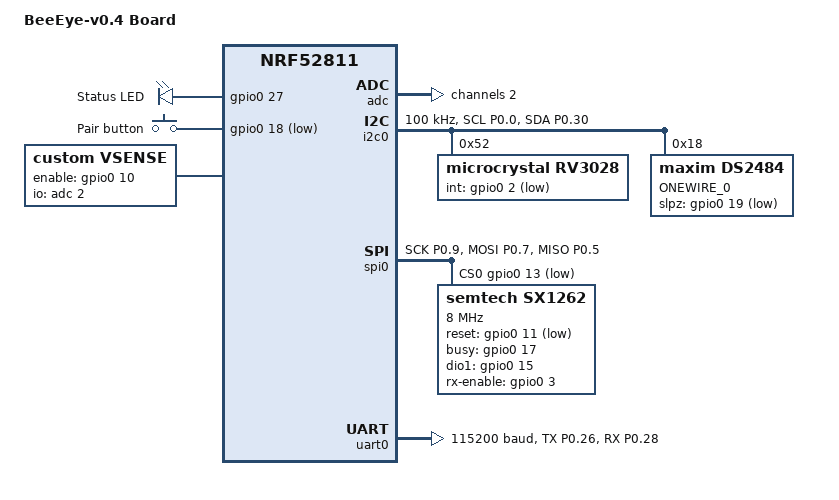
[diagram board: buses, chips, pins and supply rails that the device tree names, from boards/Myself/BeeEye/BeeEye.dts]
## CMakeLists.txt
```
cmake_minimum_required(VERSION 3.20.0)

# Generate compile_commands.json for C/C++ Extension
set(CMAKE_EXPORT_COMPILE_COMMANDS ON)

find_package(Zephyr REQUIRED HINTS $ENV{ZEPHYR_BASE})

project(bee-eye)

target_sources(app PRIVATE 
    src/main.c 
    src/uart_print.c 
    src/vsense.c
    src/rtc.c
    src/onewire.c
    src/lora.c
    src/messages.c
    src/ble_server.c
    src/ble_client.c
)
```

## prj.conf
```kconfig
CONFIG_TICKLESS_KERNEL=y

CONFIG_MINIMAL_LIBC=y
CONFIG_MINIMAL_LIBC_LL_PRINTF=y
CONFIG_MINIMAL_LIBC_TIME=y

CONFIG_PM_DEVICE=y

CONFIG_GPIO=y
CONFIG_GPIO_NRFX=y

# LoRa
CONFIG_SPI=y
CONFIG_LORA=y
CONFIG_LORA_SX126X=y

# BLE
CONFIG_BT=y
CONFIG_BT_LL_SOFTDEVICE=y
CONFIG_BT_OBSERVER=y
CONFIG_BT_EXT_ADV=y

# BLE trim down to fit RAM
CONFIG_BT_BUF_EVT_RX_COUNT=3
CONFIG_BT_BUF_CMD_TX_COUNT=2
CONFIG_BT_BUF_ACL_TX_COUNT=1
# CONFIG_BT_BUF_EVT_RX_SIZE=68

#1W
CONFIG_W1=y
CONFIG_W1_NET=y

# RTC
CONFIG_I2C=y
CONFIG_RTC=y
CONFIG_RTC_ALARM=y

# ADC
CONFIG_ADC=y
CONFIG_NRFX_SAADC=y

# UART
CONFIG_SERIAL=y
CONFIG_UART_ASYNC_API=y

# LOGGGY
CONFIG_CONSOLE=y
CONFIG_UART_CONSOLE=y
# CONFIG_EXCEPTION_DEBUG=y
CONFIG_PRINTK=y
CONFIG_LOG=y
# CONFIG_THREAD_STACK_INFO=y
# CONFIG_INIT_STACKS=y
# CONFIG_STACK_CANARIES=y
# CONFIG_ASSERT=y
# CONFIG_ASSERT_VERBOSE=y
```

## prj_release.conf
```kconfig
CONFIG_TICKLESS_KERNEL=y

CONFIG_MINIMAL_LIBC=y
CONFIG_MINIMAL_LIBC_LL_PRINTF=y
CONFIG_MINIMAL_LIBC_TIME=y

CONFIG_PM_DEVICE=y

CONFIG_GPIO=y
CONFIG_GPIO_NRFX=y

# LoRa
CONFIG_SPI=y
CONFIG_LORA=y
CONFIG_LORA_SX126X=y

# BLE
CONFIG_BT=y
CONFIG_BT_LL_SOFTDEVICE=y
CONFIG_BT_OBSERVER=y
CONFIG_BT_EXT_ADV=y

# BLE trim down to fit RAM
CONFIG_BT_BUF_EVT_RX_COUNT=3
CONFIG_BT_BUF_CMD_TX_COUNT=2
CONFIG_BT_BUF_ACL_TX_COUNT=1
# CONFIG_BT_BUF_EVT_RX_SIZE=68

#1W
CONFIG_W1=y
CONFIG_W1_NET=y

# RTC
CONFIG_I2C=y
CONFIG_RTC=y
CONFIG_RTC_ALARM=y

# ADC
CONFIG_ADC=y
CONFIG_NRFX_SAADC=y

# Disable serial and logging
CONFIG_SERIAL=n
CONFIG_CONSOLE=n
CONFIG_PRINTK=n
CONFIG_LOG=n
```

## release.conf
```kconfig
# Turn off logging (power saving)
CONFIG_SERIAL=n
CONFIG_UART_ASYNC_API=n
CONFIG_CONSOLE=n
CONFIG_UART_CONSOLE=n
CONFIG_LOG=n
```

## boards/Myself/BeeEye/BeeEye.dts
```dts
/dts-v1/;
#include <nordic/nrf52811_qfaa.dtsi>
#include "BeeEye-pinctrl.dtsi"

/ {
	model = "BeeEye-v0.4 Board";
	compatible = "Myself,BeeEye";

	chosen {
		zephyr,console = &uart0;
		zephyr,sram = &sram0;
		zephyr,flash = &flash0;
		zephyr,code-partition = &slot0_partition;
	};

	leds {
		compatible = "gpio-leds";

		status_led: led_0 {
			gpios = <&gpio0 27 GPIO_ACTIVE_HIGH>;
			label = "Status LED";
		};
	};

	buttons {
		compatible = "gpio-keys";

		pair_button: button_0 {
			gpios = <&gpio0 18 (GPIO_ACTIVE_LOW)>;
			label = "Pair button";
			zephyr,code = <INPUT_KEY_0>;
		};
	};

    vsense: vsense {
        compatible = "custom,vsense";
        enable-gpios = <&gpio0 10 GPIO_ACTIVE_HIGH>;
        io-channels = <&adc 2>; /* example channel index */
        label = "VSENSE";
    };
};

&uicr {
    // configures P0.21 as reset
	gpio-as-nreset;
};

&adc {
    status = "okay";
	#address-cells = <1>;
    #size-cells = <0>;

    channel@2 {
        reg = <2>;                               
        zephyr,gain = "ADC_GAIN_1_6";                
        zephyr,reference = "ADC_REF_INTERNAL";         
        zephyr,acquisition-time = <ADC_ACQ_TIME_DEFAULT>;
        zephyr,input-positive = <NRF_SAADC_AIN2>;
        zephyr,resolution = <14>;              
    };
};

&clock {
	status = "okay";
	lfclk {
		source = "LFRC";
		cal-enabled = <1>;
	};
};

&reg {
	regulator-initial-mode = <NRF5X_REG_MODE_DCDC>;
};

&gpiote {
	status = "okay";
};


&gpio0 {
    status = "okay";
};

&pinctrl {
    /* I2C0 */
    i2c0_default: i2c0_default {
        group1 {
            psels = <NRF_PSEL(TWIM_SCL, 0, 0)>,
                    <NRF_PSEL(TWIM_SDA, 0, 30)>;
        };
    };

    i2c0_sleep: i2c0_sleep {
        group1 {
            psels = <NRF_PSEL(TWIM_SCL, 0, 0)>,
                    <NRF_PSEL(TWIM_SDA, 0, 30)>;
            low-power-enable;
        };
    };

    /* SPI0 */
    spi0_default: spi0_default {
        group1 {
            psels = <NRF_PSEL(SPIM_SCK, 0, 9)>,
                    <NRF_PSEL(SPIM_MOSI, 0, 7)>,
                    <NRF_PSEL(SPIM_MISO, 0, 5)>;
        };
    };

    spi0_sleep: spi0_sleep {
        group1 {
            psels = <NRF_PSEL(SPIM_SCK, 0, 9)>,
                    <NRF_PSEL(SPIM_MOSI, 0, 7)>,
                    <NRF_PSEL(SPIM_MISO, 0, 5)>;
            low-power-enable;
        };
    };

    /* UART0 */
    uart0_default: uart0_default {
        group1 {
            psels = <NRF_PSEL(UART_TX, 0, 26)>,
                    <NRF_PSEL(UART_RX, 0, 28)>;
        };
    };

    uart0_sleep: uart0_sleep {
        group1 {
            psels = <NRF_PSEL(UART_TX, 0, 26)>,
                    <NRF_PSEL(UART_RX, 0, 28)>;
            low-power-enable;
        };
    };
};

&i2c0 {
    compatible = "nordic,nrf-twim";
    pinctrl-0 = <&i2c0_default>;
    pinctrl-1 = <&i2c0_sleep>;
    pinctrl-names = "default", "sleep";
    status = "okay";
	clock-frequency = <I2C_BITRATE_STANDARD>;

	/* RV-3028-C7 real-time clock */
    rv3028: rv3028@52 {
		status = "okay";
        compatible = "microcrystal,rv3028";
        reg = <0x52>;
        int-gpios = <&gpio0 2 (GPIO_PULL_UP | GPIO_ACTIVE_LOW)>;
        label = "RV3028";
		backup-switch-mode = "level";
		trickle-resistor-ohms = <15000>;
		// zephyr,deferred-init;
    };

    /* DS2484 I2C -> 1-Wire master */
    ow0: w1@18 {
        status = "okay";
        compatible = "maxim,ds2484";
        reg = <0x18>;
        slpz-gpios = <&gpio0 19 (GPIO_ACTIVE_LOW)>; 
        label = "ONEWIRE_0";

        // enable if you want DS2484 active pull-up 
        // active-pullup;
    };
};

&spi0 {
    compatible = "nordic,nrf-spim";
    pinctrl-0 = <&spi0_default>;
    pinctrl-1 = <&spi0_sleep>;
    pinctrl-names = "default", "sleep";
    cs-gpios = <&gpio0 13 GPIO_ACTIVE_LOW>;
    status = "okay";
    sx1262: sx1262@0 {
        compatible = "semtech,sx1262";
        reg = <0>;
        status = "okay";
        spi-max-frequency = <8000000>;

        reset-gpios = <&gpio0 11 GPIO_ACTIVE_LOW>;
        busy-gpios  = <&gpio0 17 GPIO_ACTIVE_HIGH>;
        dio1-gpios  = <&gpio0 15 GPIO_ACTIVE_HIGH>;
        rx-enable-gpios = <&gpio0 3 GPIO_ACTIVE_HIGH>;
        dio2-tx-enable;
        /*
            Acceptable TXCO voltage constants:
            #define SX126X_DIO3_TCXO_1V6	0x00
            #define SX126X_DIO3_TCXO_1V7	0x01
            #define SX126X_DIO3_TCXO_1V8	0x02
            #define SX126X_DIO3_TCXO_2V2	0x03
            #define SX126X_DIO3_TCXO_2V4	0x04
            #define SX126X_DIO3_TCXO_2V7	0x05
            #define SX126X_DIO3_TCXO_3V0	0x06
            #define SX126X_DIO3_TCXO_3V3	0x07
         */
        dio3-tcxo-voltage = <2>; 
        tcxo-power-startup-delay-ms = <500>;
        label = "SX1262";
    };
};

&uart0 {
    compatible = "nordic,nrf-uarte";
    pinctrl-0 = <&uart0_default>;
    pinctrl-1 = <&uart0_sleep>;
    pinctrl-names = "default", "sleep";
    status = "okay";
	current-speed = <115200>;
};

&flash0 {
	partitions {
		compatible = "fixed-partitions";
		#address-cells = <1>;
		#size-cells = <1>;

		boot_partition: partition@0 {
			label = "mcuboot";
			reg = <0x00000000 DT_SIZE_K(48)>;
		};

		slot0_partition: partition@c000 {
			label = "image-0";
			reg = <0x0000c000 DT_SIZE_K(56)>;
		};

		slot1_partition: partition@1a000 {
			label = "image-1";
			reg = <0x0001a000 DT_SIZE_K(56)>;
		};

		storage_partition: partition@28000 {
			label = "storage";
			reg = <0x00028000 DT_SIZE_K(32)>;
		};
	};
};
```

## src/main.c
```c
#include "uart_print.h"
#include "vsense.h"
#include "rtc.h"
#include "onewire.h"
#include "lora.h"
#include "messages.h"
#include "ble_client.h"

#include <stdio.h>
#include <assert.h>
#include <zephyr/kernel.h>
#include <zephyr/drivers/gpio.h>
#include <zephyr/logging/log.h>
#include <zephyr/sys/atomic.h>
#include <hal/nrf_gpio.h>
#include <nrfx.h>

LOG_MODULE_REGISTER(app_main, LOG_LEVEL_DBG);

#define LED0_NODE DT_NODELABEL(status_led)
static const struct gpio_dt_spec led = GPIO_DT_SPEC_GET(LED0_NODE, gpios);
static const struct gpio_dt_spec pair_button = GPIO_DT_SPEC_GET(DT_NODELABEL(pair_button), gpios);

static atomic_t pairing_mode = ATOMIC_INIT(1);
static k_tid_t main_thread_tid = NULL;
static struct gpio_callback pair_button_cb;

void fillMeasureFromSensor(struct Measure* measure, struct Sensor* sensor);
void fillMeasureFromSensorBat(struct Measure* measure, struct Sensor* sensor);
void transmitSensorData(uint64_t cutoff);
static uint8_t battery_addr_suffix[6];
static void battery_addr_init(void);
static void pair_button_isr(const struct device *dev, struct gpio_callback *cb, uint32_t pins);

static int post(void);
static void event_loop(void);

int main(void)
{
	main_thread_tid = k_current_get();

	int ret = 0;
	ret = post();
	if(ret) {
		// Multiple fast blinks = POST failed
		for (int i=0;i<5;++i) {
			gpio_pin_set_dt(&led, 1);
			k_msleep(100);
			gpio_pin_set_dt(&led, 0);
			k_msleep(100);
		}
		return 0;
	}

	// Single blink = OK
	gpio_pin_set_dt(&led, 1);
	k_msleep(500);
	gpio_pin_set_dt(&led, 0);

	// Send banner
	ret=lora_transmit_text("BeeEye v0.4-nrf");
	if(ret) {
		LOG_ERR("LoRa TX failed: %d", ret);
	}

	event_loop();
	return 0;
}

static int post(void) {
	int ret = 0;
	battery_addr_init();


	if (!device_is_ready(pair_button.port)) {
        LOG_ERR("PAIR BUTTON is not ready");
        return -ENODEV;
    }

	ret = gpio_pin_configure_dt(&pair_button, GPIO_INPUT);
	if (ret) {
        LOG_ERR("Couldn't configure PAIR BUTTON");
		return ret;
	}

	ret = gpio_pin_interrupt_configure_dt(&pair_button, GPIO_INT_EDGE_TO_ACTIVE);
	if (ret) {
        LOG_ERR("Couldn't configure PAIR BUTTON interrupt");
		return ret;
	}

	gpio_init_callback(&pair_button_cb, pair_button_isr, BIT(pair_button.pin));
	ret = gpio_add_callback(pair_button.port, &pair_button_cb);
	if (ret) {
        LOG_ERR("Couldn't configure PAIR BUTTON interrupt callback");
		return ret;
	}

	if (!gpio_is_ready_dt(&led)) {
		LOG_ERR("GPIO is not ready");
		return -ENODEV;
	}

	ret = gpio_pin_configure_dt(&led, GPIO_OUTPUT_INACTIVE);
	if (ret < 0) {
		LOG_ERR("Failed to confugure LED");
		return ret;
	} 

	nrf_gpio_cfg(
		led.pin,                    // pin number
		NRF_GPIO_PIN_DIR_OUTPUT,
		NRF_GPIO_PIN_INPUT_DISCONNECT,
		NRF_GPIO_PIN_NOPULL,
		NRF_GPIO_PIN_S0H1,     // <— drive mode
		NRF_GPIO_PIN_NOSENSE
	);

	ret = intinitialize_rtc();
	if(ret) {
		LOG_ERR("RTC init failed: %d", ret);
		return ret;
	} else {
		LOG_INF("RTC OK");
	}

	// Vsense
	uint16_t batteryMilliVolt = 0;
	ret = vsense_measure_mv(&batteryMilliVolt);
	if(ret) {
		LOG_ERR("Battery Voltage measurement failed");
		return ret;
	}
	LOG_INF("Battery Voltage = %dmV", batteryMilliVolt);

	// Start BLE
	ret = ble_client_start(60, 30);
	if(ret) {
		LOG_ERR("BLE client init failed: %d", ret);
		return ret;
	} else {
		LOG_INF("BLE OK");
	}

	k_msleep(100);

	ret = init_lora();
	if(ret){
		LOG_ERR("LoRa init failed: %d", ret);
		return ret;
	} else {
		LOG_INF("LoRa OK");
	}

	return 0;
}

static void event_loop(void) {
	int ret = 0;
	uint64_t start = k_uptime_get();
	uint64_t t_start_transmit = start;
	uint64_t t_stop_hifreq = 0;
	uint64_t t_start_hifreq = 0;

	while (1) {
		uint64_t now = k_uptime_get();

		if (atomic_cas(&pairing_mode, 1, 0)) {
			LOG_INF("Starting pairing mode (hi-freq)");
			t_stop_hifreq = now + 180000;
			t_start_hifreq = now - 1;
		}

		if (t_stop_hifreq != 0 && t_stop_hifreq <= now) {
			gpio_pin_set_dt(&led, 0);
			t_stop_hifreq = 0;
			LOG_INF("Stopping ble scan, sensors found so far = %d", ble_get_sensor_count());
			ble_client_stop();

			// LOG_INF("Switching to low-freq ble scan, sensors found so far = %d", ble_get_sensor_count());
			// ble_client_start(2000, 30); // low freq

			t_start_hifreq = ble_client_get_next_sensor_window();
			if(t_start_hifreq == 0) {
				LOG_WRN("No BLE devices detected, scheduling next hi-freq scan in 15 minutes");
				t_start_hifreq = now + 900000;
			} else {
				LOG_INF("Next hi-freq in %d seconds", (int)((t_start_hifreq - now) / 1000));
			}
		}

		if (t_start_hifreq != 0 && t_start_hifreq <= now) {
			t_start_hifreq = 0;
			LOG_INF("Switching to high-freq ble scan");
			ble_client_start(60, 30); // high freq
			if(t_stop_hifreq <= now) {
				t_stop_hifreq = now + 300; 
			}
		}

		if (t_start_transmit != 0 && t_start_transmit <= now) {
			transmitSensorData(now - 300000);
			t_start_transmit = now + 300000; // schedule LoRa transmit every 5 minutes
		}

		uint64_t next = t_start_transmit;
		if (t_stop_hifreq != 0 && t_stop_hifreq < next) next = t_stop_hifreq;
		if (t_start_hifreq != 0 && t_start_hifreq < next) next = t_start_hifreq;

		now = k_uptime_get();
		if(t_stop_hifreq != 0 && t_stop_hifreq - 1000 > now) {
			gpio_pin_toggle_dt(&led);
			k_msleep(MIN(next - now, 500));
		} else {
			k_msleep(next - now);
		}
	}
}

static void pair_button_isr(const struct device *dev, struct gpio_callback *cb, uint32_t pins)
{
	ARG_UNUSED(dev);
	ARG_UNUSED(cb);
	ARG_UNUSED(pins);
	if(atomic_cas(&pairing_mode, 0, 1) && main_thread_tid) {
		k_wakeup(main_thread_tid); 
	}
}

#define MAX_MEASURES 8
struct Measure measures[MAX_MEASURES];
static uint8_t measure_count = 0;
static uint8_t total_measure_count = 0;
static void flush_measures(void)
{
	if (measure_count == 0) return;
	__ASSERT(measure_count <= MAX_MEASURES, "measure_count overflow");

	LOG_INF("Sending %d measures", measure_count);
	lora_transmit_measures(measures, measure_count);
	measure_count = 0;
}

static struct Measure *alloc_measure(void)
{
	if (measure_count == MAX_MEASURES) {
		flush_measures();
	}

	++total_measure_count;
	return &measures[measure_count++];
}

void transmitSensorData(uint64_t cutoff)
{
	int ret;

	measure_count = 0;
	total_measure_count = 0;

	// Iterate over BLE sensors
	for (int i = 0; i < ble_get_sensor_count(); ++i) {
		struct Sensor *sensor = ble_get_sensor(i);

		if (sensor->lastReceive < cutoff) continue;

		fillMeasureFromSensor(alloc_measure(), sensor);

		if (!sensor->rawBattery) continue;
		
		fillMeasureFromSensorBat(alloc_measure(), sensor);
	}

	// Iterate over 1Wire sensors
	enum_w1();
	for (int i = 0; i < get_w1_device_count(); ++i) {
		struct Measure *measure = alloc_measure();

		measure->type = BEE_EYE_MEASURE_TYPE_TEMPERATURE;
		measure->data.th.tempC = read_temp(i);
		measure->data.th.hum = 0;

		get_w1_address(measure->sensorAddress, i);
	}

	// Send station's battery voltage
	uint16_t mv = 0;
	ret = vsense_measure_mv(&mv);
	if (ret) {
		LOG_ERR("Couldn't get battery voltage %d", ret);
	} else {
		struct Measure *measure = alloc_measure();

		measure->type = BEE_EYE_MEASURE_TYPE_BATTERY;
		measure->sensorAddress[0] = 'B';
		measure->sensorAddress[1] = 'T';

		memcpy(&measure->sensorAddress[2], battery_addr_suffix, 6);

		measure->data.bat.mV = mv;
	}

	// Flush the reminder
	flush_measures();

	LOG_INF("Sent total of %d measures", total_measure_count);
}

void fillMeasureFromSensor(struct Measure* measure, struct Sensor* sensor) {
	measure->sensorAddress[0] = 'B';
	measure->sensorAddress[1] = 'T';
	memcpy(measure->sensorAddress + 2, sensor->address, 6);
	if(sensor->type == SENSOR_TYPE_TEMPHUM) {
		measure->type = BEE_EYE_MEASURE_TYPE_TEMPHUM;
		measure->data.th.tempC = sensor->data.th.rawTemperature / 256.0f;
		measure->data.th.hum = sensor->data.th.rawHumidity / 256.0f;
	} else if(sensor->type == SENSOR_TYPE_WEIGHT) {
		measure->type = BEE_EYE_MEASURE_TYPE_WEIGHT;
		measure->data.w.weight = sensor->data.w.rawWeight / 256.0f;
	}
}

void fillMeasureFromSensorBat(struct Measure* measure, struct Sensor* sensor) {
	measure->sensorAddress[0] = 'B';
	measure->sensorAddress[1] = 'T';
	memcpy(measure->sensorAddress + 2, sensor->address, 6);
	measure->type = BEE_EYE_MEASURE_TYPE_BATTERY;
	measure->data.bat.mV = sensor->rawBattery / 256.0f;
}

static void battery_addr_init(void)
{
    /* 64-bit ID from FICR */
    uint64_t dev_id =
        ((uint64_t)NRF_FICR->DEVICEID[1] << 32) |
        ((uint64_t)NRF_FICR->DEVICEID[0]);

    /* Take 6 LSB bytes of the ID */
    for (int i = 0; i < 6; i++) {
        battery_addr_suffix[i] = (uint8_t)(dev_id >> (8 * i));
    }
}
```

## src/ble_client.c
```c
#include "ble_client.h"
#include "uart_print.h"
#include "protocol.h"

#include <zephyr/kernel.h>
#include <zephyr/logging/log.h>
#include <zephyr/bluetooth/bluetooth.h>
#include <zephyr/bluetooth/hci.h>
#include <zephyr/sys/byteorder.h>
#include <zephyr/sys/crc.h>

#if !defined(CONFIG_BT_EXT_ADV)
#error "enable CONFIG_BT_EXT_ADV"
#endif

LOG_MODULE_REGISTER(app_ble, LOG_LEVEL_DBG);

#define NAME_LEN 30
static bool scanning_active = false;
static volatile uint16_t ble_measure_count = 0;

#define MAX_SENSORS 8
static struct Sensor sensors[MAX_SENSORS];
static volatile uint8_t num_sensors = 0;


struct __attribute__((packed)) SensorDataObsolete {
        uint16_t magic;
        int16_t temp;
        int16_t hum;
		uint32_t nextAnnounce;
};

struct AnnounceData {
	char name[NAME_LEN];
	struct ManufacturerData sensorData;
};

static bool data_cb(struct bt_data *data, void *user_data)
{
	if(!user_data) return false;

	struct AnnounceData *announceData = user_data;
	uint8_t len;

	// note: we expect name being parsed before manufacturer data
	switch (data->type) {
	case BT_DATA_NAME_SHORTENED:
	case BT_DATA_NAME_COMPLETE:
		len = MIN(data->data_len, NAME_LEN - 1);
		(void)memcpy(announceData->name, data->data, len);
		announceData->name[len] = '\0';
		return true;
	case BT_DATA_MANUFACTURER_DATA:
		memset(&announceData->sensorData, 0, sizeof(announceData->sensorData));
		if (data->data_len == sizeof(struct SensorDataObsolete)) {
			const struct SensorDataObsolete *p = (const struct SensorDataObsolete*)data->data;
			announceData->sensorData.nextTransmission = p->nextAnnounce;
			announceData->sensorData.flags = BEE_EYE_BATTERY_3V3 | BEE_EYE_METRIC_TEMPHUM | BEE_EYE_TIMER_1000HZ;
			announceData->sensorData.magic = p->magic == 0xBEEE ? BEE_EYE_MAGIC : 0;
			announceData->sensorData.data.th.temp = p->temp;
			announceData->sensorData.data.th.hum = p->hum;
			announceData->sensorData.crc = crc8(&announceData->sensorData, sizeof(announceData->sensorData) - sizeof(announceData->sensorData.crc), 0x07, 0, false);
		} else if (data->data_len == sizeof(struct ManufacturerData)) {
			(void)memcpy(&announceData->sensorData, data->data, data->data_len);
		}
		return false;

	default:
		return true;
	}

	// shouldn't actually reach here
	return true;
}

bool addr_is_zero(const uint8_t a[6])
{
    return (a[0] | a[1] | a[2] | a[3] | a[4] | a[5]) == 0;
}

static void update_sensor(struct Sensor *sensor, const struct ManufacturerData *data) {
	sensor->lastReceive = k_uptime_get();
	const uint8_t type = data->flags & BEE_EYE_METRIC_TYPE_MASK;
	const uint8_t freq_unit = data->flags & BEE_EYE_TIMER_RESOLUTION_MASK;
	
	sensor->type = type;
	_Static_assert(sizeof(sensor->data) == sizeof(data->data));
	memcpy(&sensor->data, &data->data, sizeof(sensor->data));

	uint32_t next_trans = data->nextTransmission;

	// convert to ms
	switch (freq_unit) {
	case BEE_EYE_TIMER_64HZ:
		next_trans = ((uint64_t)next_trans) * 15625 / 1000;
		break;
	case BEE_EYE_TIMER_1HZ:
		next_trans = next_trans * 1000;
		break;
	case BEE_EYE_TIMER_100HZ:
		next_trans = next_trans * 10;
		break;
	case BEE_EYE_TIMER_1000HZ:
	default:
		break;
	}

	sensor->nextAnnounce = sensor->lastReceive + next_trans;
	sensor->rawBattery = data->batteryMilliVolt;

	LOG_INF("SNS next = %u (%ums)", data->nextTransmission, next_trans);
}

static void scan_recv(const struct bt_le_scan_recv_info *info, struct net_buf_simple *buf)
{
	static struct AnnounceData announceData;
	memset(&announceData, 0, sizeof(struct AnnounceData));
	bt_data_parse(buf, data_cb, &announceData);

    if (strncmp(announceData.name, "BeeEye_", 7) != 0) return;
	uint16_t magic = announceData.sensorData.magic;
	if (magic != BEE_EYE_MAGIC) return;
	LOG_DBG("SID=%u adv_type=0x%X props=0x%X addr_type=%d, addr=%02X%02X%02X_%02X%02X%02X",
       info->sid, info->adv_type, info->adv_props, info->addr->type
				, info->addr->a.val[5]
				, info->addr->a.val[4]
				, info->addr->a.val[3]
				, info->addr->a.val[2]
				, info->addr->a.val[1]
				, info->addr->a.val[0]);

	++ble_measure_count;

	LOG_DBG("Sensor %s, flags %02x, next %d", 
		announceData.name, 
		announceData.sensorData.flags, 		
		sys_le32_to_cpu(announceData.sensorData.nextTransmission));

	for(int i=0;i<num_sensors;++i) {
		if(memcmp(sensors[i].address, info->addr->a.val, 6) == 0) {			
			update_sensor(sensors + i, &announceData.sensorData);
			LOG_DBG("Updated sensor %02X%02X", info->addr->a.val[1], info->addr->a.val[0]);
			return;
		}
	}

	if (num_sensors >= MAX_SENSORS) return;

	LOG_DBG("Registered sensor %02X%02X", info->addr->a.val[1], info->addr->a.val[0]);
	memcpy(sensors[num_sensors].address, info->addr->a.val, 6);
	update_sensor(sensors + num_sensors, &announceData.sensorData);
	++num_sensors;
}

static struct bt_le_scan_cb scan_callbacks = {
	.recv = scan_recv,
};

int ble_client_stop(void)
{
    if (!scanning_active) {
        return -EINVAL;
    }

	bt_le_scan_cb_unregister(&scan_callbacks);

    int ret = bt_le_scan_stop();
	if(ret) {
		LOG_ERR("Stop scanning failed: %d", ret);
		return ret;
	}

    scanning_active = false;
    return 0;
}


int ble_client_start(int interval, int window)
{
	LOG_INF("(Re)starting scan with .interval=0x%x, .window=0x%x",(interval << 3) / 5, (window << 3) / 5);
    int err;

    if (!bt_is_ready()) {
		memset(sensors, 0, sizeof(sensors));
        err = bt_enable(NULL);
        if (err) {
            LOG_ERR("BLE init failed: %d", err);
            return err;
        }
    }

    if (scanning_active) {
		LOG_DBG("Scanning already active, stopping");
        err = ble_client_stop();
		if(err) {
			return err;
		}
    }

	bt_le_scan_cb_register(&scan_callbacks);

    struct bt_le_scan_param scan_param = {
		.type       = BT_LE_SCAN_TYPE_PASSIVE,
		.options    = BT_LE_SCAN_OPT_FILTER_DUPLICATE,
		.interval   = (interval << 3) / 5,  // pause between scans
		.window     = (window << 3) / 5  // actively listening
	};

    err = bt_le_scan_start(&scan_param, NULL);
	if (err) {
		LOG_ERR("Start scanning failed: %d", err);
		return err;
	}

    scanning_active = true;
	LOG_DBG("Scanning started");
    return 0;
}


uint16_t ble_client_get_measure_count() {
	uint16_t measure_count = ble_measure_count;
	ble_measure_count = 0;
	return measure_count;
}

uint64_t ble_client_get_next_sensor_window(void) {
		uint64_t now = k_uptime_get();
		uint64_t result = 0;

        for (int i = 0; i < num_sensors; i++) {
			LOG_DBG("Record #%d addr=%02X%02X%02X%02X%02X%02X", i
				, sensors[i].address[5]
				, sensors[i].address[4]
				, sensors[i].address[3]
				, sensors[i].address[2]
				, sensors[i].address[1]
				, sensors[i].address[0]);
			uint64_t nextAnnounce = sensors[i].nextAnnounce;
            if (nextAnnounce == 0)
                continue;

            uint64_t next = nextAnnounce;
			while(next < now) {
				next += 120000;
			}

            if(result == 0 || result > next)
				result = next;
        }
		
		LOG_DBG("sensors = %d, next sensor window = %llu (%02d:%02d:%02d.%03d)", 
			num_sensors, 
			result,
			(int)(result / 3600000),
			(int)(result % 3600000) / 60000,
			(int)(result % 60000) / 1000,
			(int)(result % 1000)			
		);
		return result;
}

uint8_t ble_get_sensor_count(void) {
		return num_sensors;
}

struct Sensor* ble_get_sensor(uint8_t index) {
	if (index >= MAX_SENSORS) return NULL;
	return sensors + index;
}
```

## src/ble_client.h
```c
#pragma once

#include <stdint.h>

#define SENSOR_TYPE_TEMPHUM 0
#define SENSOR_TYPE_WEIGHT 1
#define SENSOR_TYPE_UNKNOWN 0xFF

struct Sensor {
	uint64_t	lastReceive;
	uint8_t		address[6];
	uint8_t		type;
	union {
		struct {
			int16_t rawTemperature;
			int16_t rawHumidity;
		} th;

		struct {
			int32_t rawWeight;
		} w;
	} data;	
	uint16_t    rawBattery;
	uint64_t	nextAnnounce;
};

int ble_client_start(int interval, int window);
int ble_client_stop(void);
uint64_t ble_client_get_next_sensor_window(void);
uint16_t ble_client_get_measure_count();
uint8_t ble_get_sensor_count(void);
struct Sensor* ble_get_sensor(uint8_t index);
```

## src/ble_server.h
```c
#pragma once

/// @brief Starts BLE Config Server
void start_ble_server(void);

/// @brief Stops BLE Config Server
void stop_ble_server(void);
```

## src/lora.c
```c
#include "lora.h"
#include "uart_print.h"

#include <zephyr/logging/log.h>
#include <zephyr/device.h>
#include <zephyr/devicetree.h>
#include <zephyr/drivers/lora.h>
#include <errno.h>

LOG_MODULE_REGISTER(app_lora, LOG_LEVEL_DBG);

const struct device *lora_dev = DEVICE_DT_GET(DT_NODELABEL(sx1262));

int init_lora(void) {
    struct lora_modem_config config = {
        .frequency = 868100000,  
        .bandwidth = BW_125_KHZ, 
        .datarate = SF_9,       
        .preamble_len = 8,
        .coding_rate = CR_4_7,
        .tx_power = 10,         
        .iq_inverted = false,
        .public_network = false,
        .tx = true
    };

    if(!device_is_ready(lora_dev)) {
        LOG_ERR("SX1262 not ready");
        return -ENODEV;
    }

    int ret = lora_config(lora_dev, &config);
    if (ret < 0) {
        LOG_ERR("LoRa config failed: %d", ret);
        return ret;
    }

    return 0;
}

#define LORA_TXSIZE 255
static uint8_t tx_buf[LORA_TXSIZE];

int lora_transmit_text(const char *text)
{
	if (!text)
    {
		return -EINVAL;
    }

	const size_t text_len = strlen(text);
	const size_t payload  = sizeof(struct MessageHeader) + text_len;

	if (text_len == 0) {
		return -EINVAL;
    }

	if (payload > sizeof(tx_buf)) {
		return -EMSGSIZE;
    }

	fillHeader(tx_buf, BEE_EYE_MESSAGE_TYPE_TEXT);
	memcpy(tx_buf + sizeof(struct MessageHeader), text, text_len);

    LOG_DBG("Sending %d bytes over LoRa (text)", payload);
	return lora_send(lora_dev, tx_buf, payload); /* 0 or -ERRNO */
}

int lora_transmit_measures(const struct Measure *measure, uint8_t count)
{
	if (!measure)
		return -EINVAL;

	size_t payload = sizeof(struct MessageHeader) + sizeof(struct Measure) * count;

    if (payload > sizeof(tx_buf)) {
        // TODO: implement message splitting for large number of sensors
		return -EMSGSIZE;
    }

	fillHeader(tx_buf, BEE_EYE_MESSAGE_TYPE_MEASURES);
	memcpy(tx_buf + sizeof(struct MessageHeader), measure, sizeof(struct Measure) * count);

    LOG_DBG("Sending %d bytes over LoRa (%d measures)", payload, count);
	return lora_send(lora_dev, tx_buf, payload);
}
```

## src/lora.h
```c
#pragma once

#include "messages.h"

int init_lora(void);
int lora_transmit_text(const char *text);
int lora_transmit_measures(const struct Measure *measure, uint8_t count);
```

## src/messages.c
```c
#include "messages.h"

#include <stdint.h>
#include <soc.h> 

#define MAGIC_BEYE 0x45455942ul

void fillHeader(void* target, uint8_t type) {
    struct MessageHeader *header = target;
    *((uint32_t*)header->magic) = MAGIC_BEYE;
    header->flags = (PROTOCOL_VERSION & 63);
    header->type = type;
    header->srcAddr = ((uint64_t)NRF_FICR->DEVICEID[1] << 32) | (uint64_t)NRF_FICR->DEVICEID[0];
}
```

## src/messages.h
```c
#pragma once

#include <stdint.h>

#define PROTOCOL_VERSION 3

#pragma pack(push, 1)

#define BEE_EYE_MESSAGE_TYPE_MEASURES 1u
#define BEE_EYE_MESSAGE_TYPE_TEXT 2u
#define BEE_EYE_MEASURE_TYPE_BATTERY 0u
#define BEE_EYE_MEASURE_TYPE_TEMPERATURE 1u
#define BEE_EYE_MEASURE_TYPE_TEMPHUM 2u
#define BEE_EYE_MEASURE_TYPE_WEIGHT 3u

/// @brief Sensor measure
struct Measure {   
    uint8_t         type; 
    uint8_t         sensorAddress[8];
    union {
        struct __attribute__((packed)) {
            float tempC;
            float hum;
        } th;

        struct __attribute__((packed)) {
            float weight;
        } w;

        struct __attribute__((packed)) {
            uint16_t mV;
        } bat;
    } data;
}; 

/// @brief Message header
struct MessageHeader {
    uint8_t     magic[4];
    uint8_t     flags; // version && flags    
    uint64_t    srcAddr;
    uint8_t     type;
};

#pragma pack(pop)

void fillHeader(void* target, uint8_t type);
```

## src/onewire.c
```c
#include "onewire.h"
#include "uart_print.h"

#include <zephyr/logging/log.h>
#include <zephyr/drivers/w1.h>
#include <zephyr/pm/device.h>

LOG_MODULE_REGISTER(app_w1, LOG_LEVEL_DBG);

static const struct device *dev_w1 = DEVICE_DT_GET(DT_NODELABEL(ow0));

static struct w1_rom roms[16];
static volatile uint8_t rom_count;

int sleep_w1(void)
{
    return pm_device_action_run(dev_w1, PM_DEVICE_ACTION_SUSPEND);
}

int wake_w1(void)
{
    return pm_device_action_run(dev_w1, PM_DEVICE_ACTION_RESUME);
}

void device_found_cb(struct w1_rom rom, void *user_data)
{
    roms[rom_count] = rom;
	LOG_INF("Device found; family: 0x%02x, serial: 0x%016llx", rom.family,
		w1_rom_to_uint64(&rom));
    ++rom_count;
}

void enum_w1(void) {
	if (!device_is_ready(dev_w1)) {
		LOG_ERR("W1 not ready");
		return;
	}

    rom_count = 0;
    int n = w1_search_bus(dev_w1, W1_CMD_SEARCH_ROM, W1_SEARCH_ALL_FAMILIES, device_found_cb, NULL);
    if (n < 0) {
        LOG_ERR("W1 search bus failed: %d", n);
    }
    else {
        LOG_INF("found %d OneWire slaves", n);
    }

}

uint8_t get_w1_device_count(void) {
    return rom_count;
}

int get_w1_address(void* dest, uint8_t sensor_index) {
    if(sensor_index >= rom_count || dest == NULL) {
        return -EINVAL;
    }

    memcpy(dest, roms + sensor_index, 8);
    return 0;
}

float read_temp(uint8_t sensor_index) {
    if(sensor_index >= rom_count) return -1024;

    LOG_DBG("Reading temperature from {family: 0x%02x, serial: 0x%016llx}", 
        roms[sensor_index].family,
		w1_rom_to_uint64(roms));

    struct w1_slave_config config;
    memset(&config, 0, sizeof(struct w1_slave_config));
    memcpy(&config.rom, roms + sensor_index, 8);

    w1_reset_bus(dev_w1);
    w1_match_rom(dev_w1, &config);
    w1_write_byte(dev_w1, 0x44);  // Convert T
    k_msleep(750);             // wait for conversion
    w1_reset_bus(dev_w1);
    w1_match_rom(dev_w1, &config);
    w1_write_byte(dev_w1, 0xBE);  // Read Scratchpad
    uint8_t buf[9];
    for (int i=0;i<9;i++) {
        buf[i]=w1_read_byte(dev_w1);
    }
    int16_t raw = (buf[1]<<8)|buf[0];
    return raw / 16.0f;
}
```

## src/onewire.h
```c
#pragma once

#include <stdint.h>

int sleep_w1(void);
int wake_w1(void);
void enum_w1(void);
uint8_t get_w1_device_count(void);

// copies 8-byte ROM (address)
int get_w1_address(void* dest, uint8_t sensor_index);
float read_temp(uint8_t sensor_index);
```

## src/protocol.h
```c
#pragma once
#include <stdint.h>

#define BEE_EYE_MAGIC 0xBEEF

#define BEE_EYE_TIMER_RESOLUTION_MASK 0xC0
#define BEE_EYE_TIMER_1000HZ 0
#define BEE_EYE_TIMER_100HZ 0x40
#define BEE_EYE_TIMER_64HZ 0x80
#define BEE_EYE_TIMER_1HZ 0xC0

#define BEE_EYE_BATTERY_MASK 0x30
#define BEE_EYE_BATTERY_3V3 0
#define BEE_EYE_BATTERY_4V5 0x10
#define BEE_EYE_BATTERY_6V 0x20
#define BEE_EYE_BATTERY_RESERVED 0x30

#define BEE_EYE_METRIC_TYPE_MASK 0x0F
#define BEE_EYE_METRIC_TEMPHUM 0
#define BEE_EYE_METRIC_WEIGHT 1

struct __attribute__((packed)) ManufacturerData {
    uint16_t            magic;              // must be 0xBEEF
    uint8_t             flags;              // bits 0-3: metric type, bits 4-5: battery type, bits 6-7: next transmission timer resolution
    union {
        struct __attribute__((packed)) {
            int16_t temp;
            int16_t hum;
        } th;

        struct __attribute__((packed)) {
            int32_t weight;
        } w;
    } data;
    uint16_t            nextTransmission;    // delay until next transmission
    uint16_t            batteryMilliVolt;   // battery voltage
    uint8_t             crc;
};
```

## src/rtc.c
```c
#include "uart_print.h"

#include <zephyr/logging/log.h>
#include <zephyr/device.h>
#include <zephyr/devicetree.h>
#include <zephyr/sys/timeutil.h>
#include <zephyr/drivers/rtc.h>
#include <zephyr/drivers/gpio.h>
#include <zephyr/drivers/i2c.h>
#include <zephyr/pm/pm.h>
#include <zephyr/pm/state.h>
#include <hal/nrf_power.h>
#include <zephyr/kernel.h>
#include <zephyr/sys/printk.h>
#include <hal/nrf_gpio.h>
#include <time.h>
#include <stdint.h>

LOG_MODULE_REGISTER(app_rtc);
static const struct device *rtc = DEVICE_DT_GET(DT_NODELABEL(rv3028));

int intinitialize_rtc(void)
{
    int ret;
    
    // ret = device_init(rtc);
    // if (ret && ret != -EALREADY) {
    //     LOG_ERR("Couldn't init RTC device: %d", ret);
    //     return -ret;
    // }
    
    if (!device_is_ready(rtc)) {
        LOG_ERR("RTC is not ready");
        return -ENODEV;
    }

    struct rtc_time tm;
    ret = rtc_get_time(rtc, &tm);

    if (ret == -ENODATA) {
        LOG_WRN("RTC time is invalid, resetting time");
        struct rtc_time init = {
            .tm_year = 2025 - 1900,  /* years since 1900 */
            .tm_mon  = 0,            /* January = 0 */
            .tm_mday = 1,
            .tm_hour = 0,
            .tm_min  = 0,
            .tm_sec  = 0,
        };

        ret = rtc_set_time(rtc, &init);
        if (ret) {
            LOG_ERR("RTC set time failed: %d", ret);
            return ret;
        }
    } else if (ret) {
        LOG_ERR("RTC get time failed: %d", ret);
        return ret;
    }

    return 0;
}

int get_rtc_ticks(uint64_t* ticks) {
    struct rtc_time tm;
    int ret = rtc_get_time(rtc, &tm);
    if (ret) {
        LOG_ERR("RTC get time failed: %d", ret);
        return ret;
    }

    int64_t seconds = timeutil_timegm64(&tm); // UTC seconds since epoch (1970)

    if (ticks) {
        *ticks = seconds * 1000ULL + ((int64_t)tm.tm_nsec) / 1000000ULL;
    }

    return 0;
}
```

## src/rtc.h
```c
#pragma once
#include <stdint.h>

int intinitialize_rtc(void);
int get_rtc_ticks(uint64_t* ticks);
```
